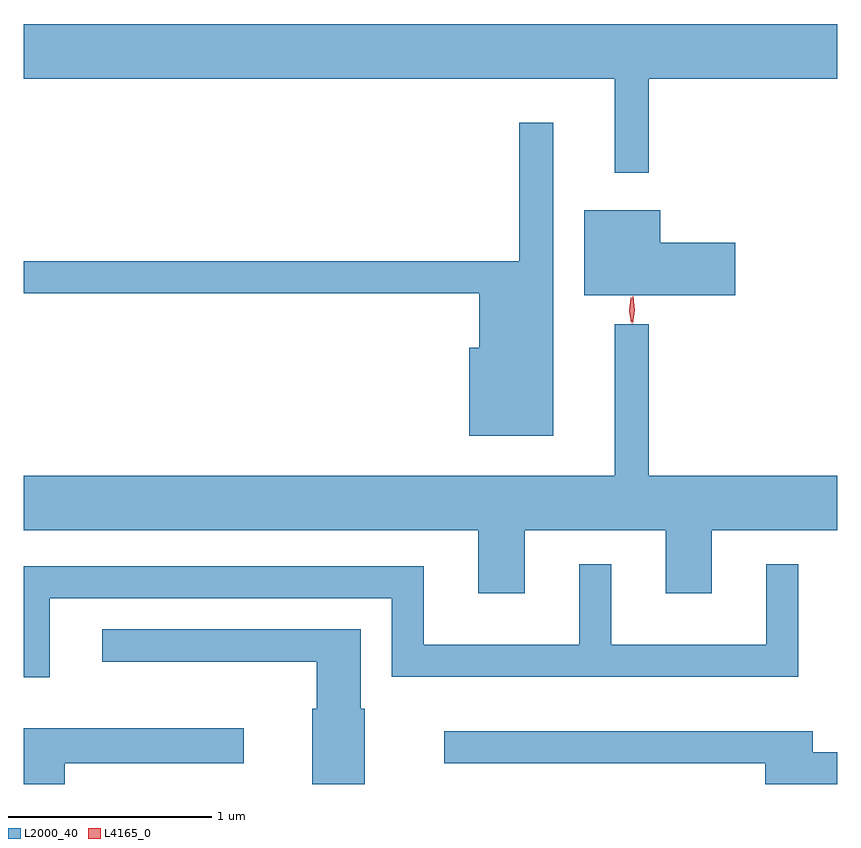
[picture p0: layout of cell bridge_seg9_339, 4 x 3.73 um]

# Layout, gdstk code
import gdstk
lib = gdstk.Library(unit=1e-6, precision=1e-09)
def P(c, l, *ps):  # polygons
    for p in ps: c.add(gdstk.Polygon(p, *l))
L2000_40 = (2000, 40)
L4165_0 = (4165, 0)

bridge_seg9_339 = lib.new_cell('bridge_seg9_339')
P(bridge_seg9_339, L2000_40, [(767.109,2000.696),(768.036,2000.696),(768.036,2000.964),(764.036,2000.964),(764.036,2000.696),(766.941,2000.696),(766.941,2000.233),(767.109,2000.233)],
  [(766.639,2000.478),(766.471,2000.478),(766.471,1999.799),(764.036,1999.799),(764.036,1999.641),(766.276,1999.641),(766.276,1999.374),(766.226,1999.374),(766.226,1998.941),(766.639,1998.941)],
  [(767.534,1999.889),(767.164,1999.889),(767.164,2000.049),(766.791,2000.049),(766.791,1999.631),(767.534,1999.631)],
  [(766.499,1998.476),(767.191,1998.476),(767.191,1998.166),(767.419,1998.166),(767.419,1998.476),(768.036,1998.476),(768.036,1998.744),(767.109,1998.744),(767.109,1999.488),(766.941,1999.488),(766.941,1998.744),(764.036,1998.744),(764.036,1998.476),(766.271,1998.476),(766.271,1998.166),(766.499,1998.166)],
  [(764.164,1998.141),(765.846,1998.141),(765.846,1997.756),(767.844,1997.756),(767.844,1998.308),(767.686,1998.308),(767.686,1997.914),(766.924,1997.914),(766.924,1998.308),(766.766,1998.308),(766.766,1997.914),(766.004,1997.914),(766.004,1998.299),(764.036,1998.299),(764.036,1997.753),(764.164,1997.753)],
  [(765.714,1997.599),(765.694,1997.599),(765.694,1997.989),(764.423,1997.989),(764.423,1997.831),(765.476,1997.831),(765.476,1997.599),(765.456,1997.599),(765.456,1997.229),(765.714,1997.229)],
  [(764.239,1997.331),(765.119,1997.331),(765.119,1997.504),(764.036,1997.504),(764.036,1997.229),(764.239,1997.229)],
  [(768.036,1997.384),(767.914,1997.384),(767.914,1997.489),(766.103,1997.489),(766.103,1997.331),(767.681,1997.331),(767.681,1997.229),(768.036,1997.229)])
P(bridge_seg9_339, L4165_0, [(767.022,1999.493),(767.022,1999.493),(767.012,1999.556),(767.021,1999.619),(767.022,1999.62),(767.022,1999.619),(767.032,1999.556),(767.022,1999.493)],
  [(767.029,1999.49),(767.02,1999.558),(767.031,1999.625),(767.031,1999.626),(767.032,1999.625),(767.04,1999.558),(767.03,1999.49),(767.03,1999.49)])

lib.write_gds('bridge_seg9_339.gds')
